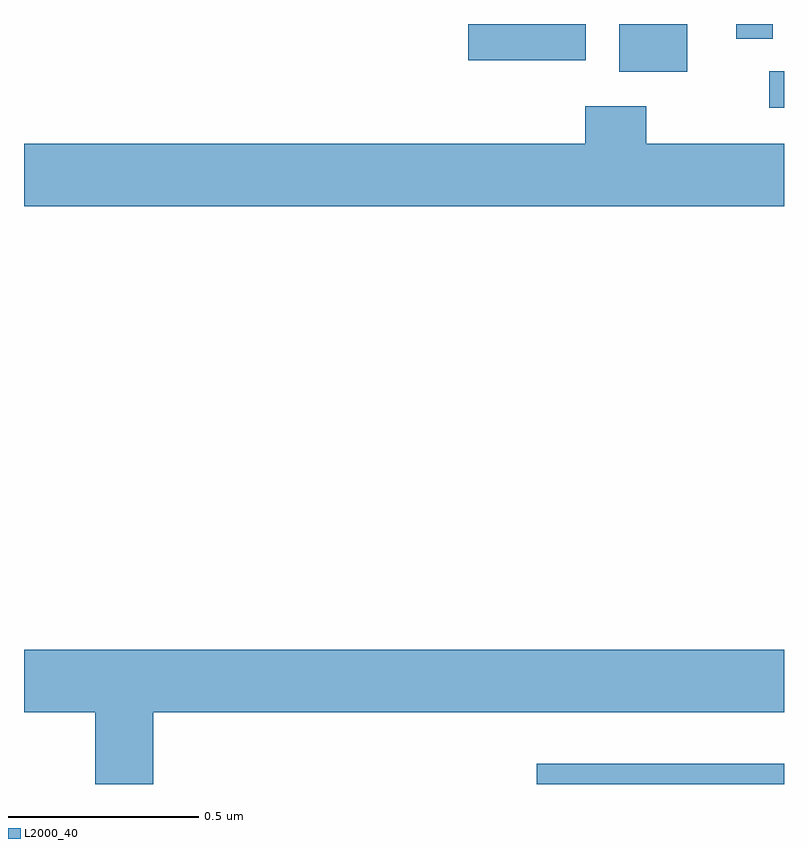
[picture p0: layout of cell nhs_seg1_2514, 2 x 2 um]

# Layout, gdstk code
import gdstk
lib = gdstk.Library(unit=1e-6, precision=1e-09)
def R(c, l, rs):  # rectangles x0, y0, x1, y1
    for r in rs: c.add(gdstk.rectangle(r[:2], r[2:], *l))
def P(c, l, *ps):  # polygons
    for p in ps: c.add(gdstk.Polygon(p, *l))
L2000_40 = (2000, 40)

nhs_seg1_2514 = lib.new_cell('nhs_seg1_2514')
R(nhs_seg1_2514, L2000_40, [(143.349,562.199,144,562.252), (143.961,563.979,144,564.075), (143.567,564.074,143.746,564.199), (143.169,564.103,143.478,564.199), (143.874,564.16,143.97,564.199)])
P(nhs_seg1_2514, L2000_40, [(144,563.884),(143.637,563.884),(143.637,563.983),(143.477,563.983),(143.477,563.884),(142,563.884),(142,563.72),(144,563.72)],
  [(142.34,562.388),(144,562.388),(144,562.552),(142,562.552),(142,562.388),(142.187,562.388),(142.187,562.199),(142.34,562.199)])

lib.write_gds('nhs_seg1_2514.gds')
